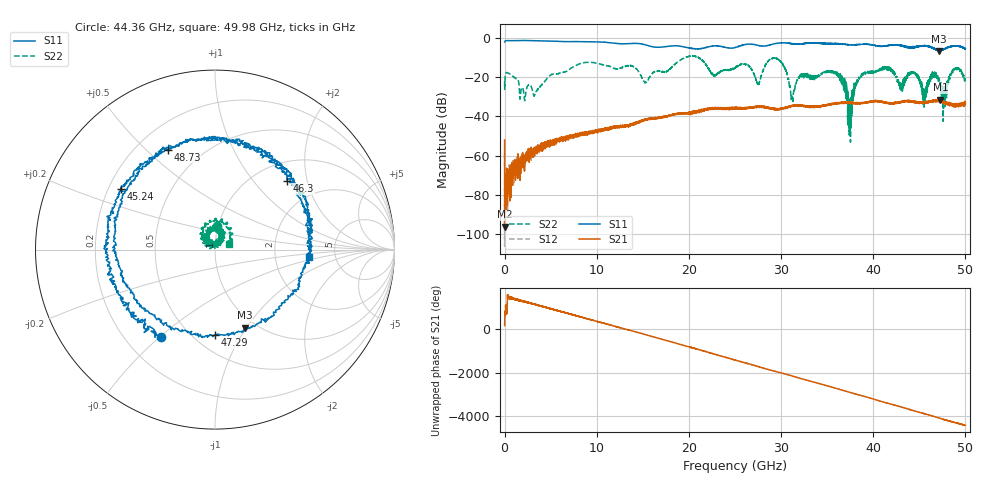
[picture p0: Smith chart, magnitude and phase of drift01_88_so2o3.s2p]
!Created with skrf (http://scikit-rf.org).
# Hz S RI R 50.0
!freq ReS11 ImS11 ReS21 ImS21 ReS12 ImS12 ReS22 ImS22
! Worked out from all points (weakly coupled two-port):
!   10001 points, 300 kHz to 50 GHz, reference 50 ohm
!   highest |S21| = -31.46 dB at 47.29 GHz (marker M1); lowest = -96.1 dB at 10.3 MHz (marker M2)
!   lowest |S11| = -6.7 dB at 47.15 GHz (marker M3), VSWR 2.73, Z = 44.2 - j49 ohm
!   |S11| at or under -10 dB: nowhere
!   |S22| runs from -53.1 to -9.2 dB; largest |S21 - S12| = 0.0041
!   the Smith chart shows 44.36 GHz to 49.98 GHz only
!   S11 on the Smith chart (normalised r, x): 44.36 GHz: 0.35, -0.50; 45.24 GHz: 0.25, +0.28; 46.3 GHz: 1.37, +1.52; 47.29 GHz: 0.63, -0.78; 48.73 GHz: 0.32, +0.58; 49.98 GHz: 3.18, -0.34
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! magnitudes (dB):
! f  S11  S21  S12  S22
! 300 kHz  -2.1  -52.0  -58.8  -22.2
! 10.3 MHz  -2.1  -96.1  -74.5  -25.6
! 260.3 MHz  -1.4  -73.3  -75.0  -17.7
! 3.29 GHz  -1.5  -58.0  -58.7  -28.8
! 8.335 GHz  -1.9  -49.0  -48.9  -12.9
! 16.67 GHz  -4.8  -40.9  -40.8  -16.7
! 25 GHz  -5.0  -35.7  -35.8  -15.2
! 29.6 GHz  -2.8  -36.4  -36.4  -10.7
! 31.24 GHz  -3.0  -34.7  -34.6  -32.3
! 33.34 GHz  -2.6  -35.3  -35.0  -20.1
! 36.08 GHz  -3.0  -33.4  -33.5  -18.5
! 37.47 GHz  -3.6  -33.0  -33.0  -36.5
! 38.64 GHz  -3.4  -33.4  -33.3  -19.8
! 41.67 GHz  -3.8  -33.0  -33.3  -16.2
! 44.36 GHz  -4.9  -32.6  -32.7  -17.5
! 45.24 GHz  -4.1  -32.8  -32.9  -23.8
! 46.3 GHz  -5.1  -32.5  -32.4  -18.5
! 47.15 GHz  -6.7  -32.4  -32.5  -20.6
! 47.29 GHz  -6.4  -31.5  -32.6  -23.5
! 48.73 GHz  -4.2  -33.8  -34.0  -16.4
! 49.98 GHz  -5.6  -33.1  -33.5  -21.3
! 50 GHz  -5.5  -33.2  -33.6  -21.5
